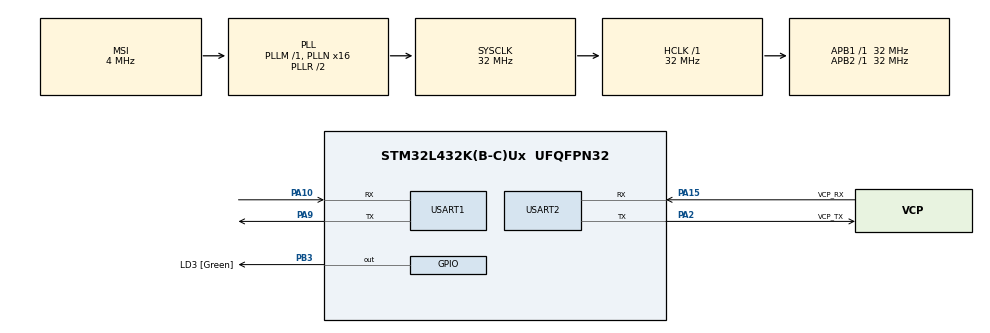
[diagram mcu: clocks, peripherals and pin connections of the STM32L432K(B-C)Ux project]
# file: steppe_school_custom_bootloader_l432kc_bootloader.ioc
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CRC.InputDataFormat=CRC_INPUTDATA_FORMAT_WORDS
Dma.Request0=USART2_RX
Dma.Request1=USART2_TX
Dma.USART2_RX.0.Direction=DMA_PERIPH_TO_MEMORY
Dma.USART2_RX.0.Instance=DMA1_Channel6
Dma.USART2_RX.0.MemDataAlignment=DMA_MDATAALIGN_BYTE
Dma.USART2_RX.0.MemInc=DMA_MINC_ENABLE
Dma.USART2_RX.0.Mode=DMA_NORMAL
Dma.USART2_RX.0.PeriphDataAlignment=DMA_PDATAALIGN_BYTE
Dma.USART2_RX.0.PeriphInc=DMA_PINC_DISABLE
Dma.USART2_RX.0.Priority=DMA_PRIORITY_LOW
Dma.USART2_TX.1.Direction=DMA_MEMORY_TO_PERIPH
Dma.USART2_TX.1.Instance=DMA1_Channel7
Dma.USART2_TX.1.MemDataAlignment=DMA_MDATAALIGN_BYTE
Dma.USART2_TX.1.MemInc=DMA_MINC_ENABLE
Dma.USART2_TX.1.Mode=DMA_NORMAL
Dma.USART2_TX.1.PeriphDataAlignment=DMA_PDATAALIGN_BYTE
Dma.USART2_TX.1.PeriphInc=DMA_PINC_DISABLE
Dma.USART2_TX.1.Priority=DMA_PRIORITY_LOW
Mcu.Family=STM32L4
Mcu.Name=STM32L432K(B-C)Ux
Mcu.Package=UFQFPN32
NVIC.DMA1_Channel6_IRQn=true\:0\:0\:false\:false\:true\:false\:true\:true
NVIC.DMA1_Channel7_IRQn=true\:0\:0\:false\:false\:true\:false\:true\:true
NVIC.PriorityGroup=NVIC_PRIORITYGROUP_4
NVIC.USART2_IRQn=true\:0\:0\:false\:false\:true\:true\:true\:true
PA0.GPIO_Label=MCO [High speed clock in]
PA0.Mode=HSE-External-Clock-Source-for-LittleOrca
PA0.Signal=RCC_CK_IN
PA10.Mode=Asynchronous
PA10.Signal=USART1_RX
PA13\ (JTMS-SWDIO).GPIO_Label=SWDIO
PA13\ (JTMS-SWDIO).Mode=Serial_Wire
PA13\ (JTMS-SWDIO).Signal=SYS_JTMS-SWDIO
PA14\ (JTCK-SWCLK).GPIO_Label=SWCLK
PA14\ (JTCK-SWCLK).Mode=Serial_Wire
PA14\ (JTCK-SWCLK).Signal=SYS_JTCK-SWCLK
PA15\ (JTDI).GPIO_Label=VCP_RX
PA15\ (JTDI).Mode=Asynchronous
PA15\ (JTDI).Signal=USART2_RX
PA2.GPIO_Label=VCP_TX
PA2.Mode=Asynchronous
PA2.Signal=USART2_TX
PA9.Mode=Asynchronous
PA9.Signal=USART1_TX
PB3\ (JTDO-TRACESWO).GPIO_Label=LD3 [Green]
PB3\ (JTDO-TRACESWO).Signal=GPIO_Output
PC14-OSC32_IN\ (PC14).Mode=LSE-External-Oscillator
PC14-OSC32_IN\ (PC14).Signal=RCC_OSC32_IN
PC15-OSC32_OUT\ (PC15).Mode=LSE-External-Oscillator
PC15-OSC32_OUT\ (PC15).Signal=RCC_OSC32_OUT
ProjectManager.HeapSize=0x200
ProjectManager.StackSize=0x400
ProjectManager.TargetToolchain=STM32CubeIDE
RCC.AHBFreq_Value=32000000
RCC.APB1Freq_Value=32000000
RCC.APB1TimFreq_Value=32000000
RCC.APB2Freq_Value=32000000
RCC.APB2TimFreq_Value=32000000
RCC.CortexFreq_Value=32000000
RCC.HCLKFreq_Value=32000000
RCC.HSE_VALUE=8000000
RCC.HSI16_VALUE=16000000
RCC.HSI48_VALUE=48000000
RCC.HSI_VALUE=16000000
RCC.MSI_VALUE=4000000
RCC.PLLMUL=RCC_PLLMUL_4
RCC.PLLN=16
RCC.SYSCLKFreq_VALUE=32000000
RCC.SYSCLKSource=RCC_SYSCLKSOURCE_PLLCLK
RCC.VCOOutputFreq_Value=64000000
USART1.VirtualMode-Asynchronous=VM_ASYNC
USART2.VirtualMode-Asynchronous=VM_ASYNC
VP_CRC_VS_CRC.Mode=CRC_Activate
board=NUCLEO-L432KC

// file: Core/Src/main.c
/* USER CODE BEGIN Header */
/**
  ******************************************************************************
  * @file           : main.c
  * @brief          : Main program body
  ******************************************************************************
  * @attention
  *
  * Copyright (c) 2026 STMicroelectronics.
  * All rights reserved.
  *
  * This software is licensed under terms that can be found in the LICENSE file
  * in the root directory of this software component.
  * If no LICENSE file comes with this software, it is provided AS-IS.
  *
  ******************************************************************************
  */
/* USER CODE END Header */
#include "main.h"
#include "serial_port.h"
#include "flash_control.h"

CRC_HandleTypeDef hcrc;

UART_HandleTypeDef huart1;
UART_HandleTypeDef huart2;
DMA_HandleTypeDef hdma_usart2_rx;
DMA_HandleTypeDef hdma_usart2_tx;

/* USER CODE BEGIN PV */
static uint16_t uart_size = 0;
static uint8_t received_data[400];
CommandTypeDef bootloader_data;
/* USER CODE END PV */

void SystemClock_Config(void);
static void MX_GPIO_Init(void);
static void MX_DMA_Init(void);
static void MX_USART2_UART_Init(void);
static void MX_CRC_Init(void);
static void MX_USART1_UART_Init(void);

/* USER CODE BEGIN 0 */

// map printf to huart 1
int _write(int fd, char *ptr, int len) {
	HAL_StatusTypeDef hstatus;

	if (fd == 1 || fd == 2) {
		hstatus = HAL_UART_Transmit(&huart1, (uint8_t*)ptr, len, HAL_MAX_DELAY);
		if (hstatus == HAL_OK)
			return len;
		else
			return -1;
	}
	return -1;
}

void LD3_Write(GPIO_PinState state)
{
    HAL_GPIO_WritePin(LD3_GPIO_Port, LD3_Pin, state);
}

void HAL_UARTEx_RxEventCallback(UART_HandleTypeDef *huart, uint16_t size)
{
    if (huart->Instance == USART2)
    {
		uart_size = size;
		HAL_UARTEx_ReceiveToIdle_DMA(&huart2, received_data, sizeof(received_data));
    }
}
/* USER CODE END 0 */

int main(void)
{

  /* MCU Configuration--------------------------------------------------------*/

  /* Reset of all peripherals, Initializes the Flash interface and the Systick. */
  HAL_Init();

  /* USER CODE BEGIN Init */
  uint32_t address = APPLICATION_ADDRESS;
  /* USER CODE END Init */

  /* Configure the system clock */
  SystemClock_Config();

  /* Initialize all configured peripherals */
  MX_GPIO_Init();
  MX_DMA_Init();
  MX_USART2_UART_Init();
  MX_CRC_Init();
  MX_USART1_UART_Init();
  /* USER CODE BEGIN 2 */
  HAL_UARTEx_ReceiveToIdle_DMA(&huart2, received_data, sizeof(received_data));

  uint32_t boot_timeout = HAL_GetTick();

  /* USER CODE END 2 */
  LD3_Write(GPIO_PIN_RESET);
  HAL_Delay(1000);
  LD3_Write(GPIO_PIN_SET);
  HAL_Delay(1000);
  LD3_Write(GPIO_PIN_RESET);
  /* Infinite loop */
  /* USER CODE BEGIN WHILE */
  while (1)
  {
	  if ((HAL_GetTick() - boot_timeout) > 10000)
	  {
		 bootloader_jump_application();
	  }

	  if(uart_size)
	  {
		  if(!parse_request(&bootloader_data, received_data, uart_size))
		  {
			  switch(bootloader_data.rw_request)
			  {
			  case BOOT_UPDATE_REQUEST:
				  printf("recevied boot update request! \r\n");

				  store_flash_memory(address, bootloader_data.data, bootloader_data.data_size);
				  address += bootloader_data.data_size;
				  boot_send_ack();
				  break;
			  case BOOT_RUN_APPLICATION:
				  printf("received run application request! \r\n");
				  boot_send_ack();
				  bootloader_jump_application();
				  break;
			  }
		  }
		  else
		  {
			  boot_send_nack();
		  }
		  uart_size = 0;
	  }
    /* USER CODE END WHILE */

  }
}

void SystemClock_Config(void)
{
  RCC_OscInitTypeDef RCC_OscInitStruct = {0};
  RCC_ClkInitTypeDef RCC_ClkInitStruct = {0};

  /** Configure the main internal regulator output voltage
  */
  if (HAL_PWREx_ControlVoltageScaling(PWR_REGULATOR_VOLTAGE_SCALE1) != HAL_OK)
  {
    Error_Handler();
  }

  /** Configure LSE Drive Capability
  */
  HAL_PWR_EnableBkUpAccess();
  __HAL_RCC_LSEDRIVE_CONFIG(RCC_LSEDRIVE_LOW);

  /** Initializes the RCC Oscillators according to the specified parameters
  * in the RCC_OscInitTypeDef structure.
  */
  RCC_OscInitStruct.OscillatorType = RCC_OSCILLATORTYPE_LSE|RCC_OSCILLATORTYPE_MSI;
  RCC_OscInitStruct.LSEState = RCC_LSE_ON;
  RCC_OscInitStruct.MSIState = RCC_MSI_ON;
  RCC_OscInitStruct.MSICalibrationValue = 0;
  RCC_OscInitStruct.MSIClockRange = RCC_MSIRANGE_6;
  RCC_OscInitStruct.PLL.PLLState = RCC_PLL_ON;
  RCC_OscInitStruct.PLL.PLLSource = RCC_PLLSOURCE_MSI;
  RCC_OscInitStruct.PLL.PLLM = 1;
  RCC_OscInitStruct.PLL.PLLN = 16;
  RCC_OscInitStruct.PLL.PLLP = RCC_PLLP_DIV7;
  RCC_OscInitStruct.PLL.PLLQ = RCC_PLLQ_DIV2;
  RCC_OscInitStruct.PLL.PLLR = RCC_PLLR_DIV2;
  if (HAL_RCC_OscConfig(&RCC_OscInitStruct) != HAL_OK)
  {
    Error_Handler();
  }

  /** Initializes the CPU, AHB and APB buses clocks
  */
  RCC_ClkInitStruct.ClockType = RCC_CLOCKTYPE_HCLK|RCC_CLOCKTYPE_SYSCLK
                              |RCC_CLOCKTYPE_PCLK1|RCC_CLOCKTYPE_PCLK2;
  RCC_ClkInitStruct.SYSCLKSource = RCC_SYSCLKSOURCE_PLLCLK;
  RCC_ClkInitStruct.AHBCLKDivider = RCC_SYSCLK_DIV1;
  RCC_ClkInitStruct.APB1CLKDivider = RCC_HCLK_DIV1;
  RCC_ClkInitStruct.APB2CLKDivider = RCC_HCLK_DIV1;

  if (HAL_RCC_ClockConfig(&RCC_ClkInitStruct, FLASH_LATENCY_1) != HAL_OK)
  {
    Error_Handler();
  }

  /** Enable MSI Auto calibration
  */
  HAL_RCCEx_EnableMSIPLLMode();
}

static void MX_CRC_Init(void)
{

  hcrc.Instance = CRC;
  hcrc.Init.DefaultPolynomialUse = DEFAULT_POLYNOMIAL_ENABLE;
  hcrc.Init.DefaultInitValueUse = DEFAULT_INIT_VALUE_ENABLE;
  hcrc.Init.InputDataInversionMode = CRC_INPUTDATA_INVERSION_NONE;
  hcrc.Init.OutputDataInversionMode = CRC_OUTPUTDATA_INVERSION_DISABLE;
  hcrc.InputDataFormat = CRC_INPUTDATA_FORMAT_WORDS;
  if (HAL_CRC_Init(&hcrc) != HAL_OK)
  {
    Error_Handler();
  }

}

static void MX_USART1_UART_Init(void)
{

  huart1.Instance = USART1;
  huart1.Init.BaudRate = 115200;
  huart1.Init.WordLength = UART_WORDLENGTH_8B;
  huart1.Init.StopBits = UART_STOPBITS_1;
  huart1.Init.Parity = UART_PARITY_NONE;
  huart1.Init.Mode = UART_MODE_TX_RX;
  huart1.Init.HwFlowCtl = UART_HWCONTROL_NONE;
  huart1.Init.OverSampling = UART_OVERSAMPLING_16;
  huart1.Init.OneBitSampling = UART_ONE_BIT_SAMPLE_DISABLE;
  huart1.AdvancedInit.AdvFeatureInit = UART_ADVFEATURE_NO_INIT;
  if (HAL_UART_Init(&huart1) != HAL_OK)
  {
    Error_Handler();
  }

}

static void MX_USART2_UART_Init(void)
{

  huart2.Instance = USART2;
  huart2.Init.BaudRate = 115200;
  huart2.Init.WordLength = UART_WORDLENGTH_8B;
  huart2.Init.StopBits = UART_STOPBITS_1;
  huart2.Init.Parity = UART_PARITY_NONE;
  huart2.Init.Mode = UART_MODE_TX_RX;
  huart2.Init.HwFlowCtl = UART_HWCONTROL_NONE;
  huart2.Init.OverSampling = UART_OVERSAMPLING_16;
  huart2.Init.OneBitSampling = UART_ONE_BIT_SAMPLE_DISABLE;
  huart2.AdvancedInit.AdvFeatureInit = UART_ADVFEATURE_NO_INIT;
  if (HAL_UART_Init(&huart2) != HAL_OK)
  {
    Error_Handler();
  }

}

static void MX_DMA_Init(void)
{

  /* DMA controller clock enable */
  __HAL_RCC_DMA1_CLK_ENABLE();

  /* DMA interrupt init */
  /* DMA1_Channel6_IRQn interrupt configuration */
  HAL_NVIC_SetPriority(DMA1_Channel6_IRQn, 0, 0);
  HAL_NVIC_EnableIRQ(DMA1_Channel6_IRQn);
  /* DMA1_Channel7_IRQn interrupt configuration */
  HAL_NVIC_SetPriority(DMA1_Channel7_IRQn, 0, 0);
  HAL_NVIC_EnableIRQ(DMA1_Channel7_IRQn);

}

static void MX_GPIO_Init(void)
{
  GPIO_InitTypeDef GPIO_InitStruct = {0};

  /* GPIO Ports Clock Enable */
  __HAL_RCC_GPIOC_CLK_ENABLE();
  __HAL_RCC_GPIOA_CLK_ENABLE();
  __HAL_RCC_GPIOB_CLK_ENABLE();

  /*Configure GPIO pin Output Level */
  HAL_GPIO_WritePin(LD3_GPIO_Port, LD3_Pin, GPIO_PIN_RESET);

  /*Configure GPIO pin : LD3_Pin */
  GPIO_InitStruct.Pin = LD3_Pin;
  GPIO_InitStruct.Mode = GPIO_MODE_OUTPUT_PP;
  GPIO_InitStruct.Pull = GPIO_NOPULL;
  GPIO_InitStruct.Speed = GPIO_SPEED_FREQ_LOW;
  HAL_GPIO_Init(LD3_GPIO_Port, &GPIO_InitStruct);

}

void Error_Handler(void)
{
  __disable_irq();
  while (1)
  {
  }
}
